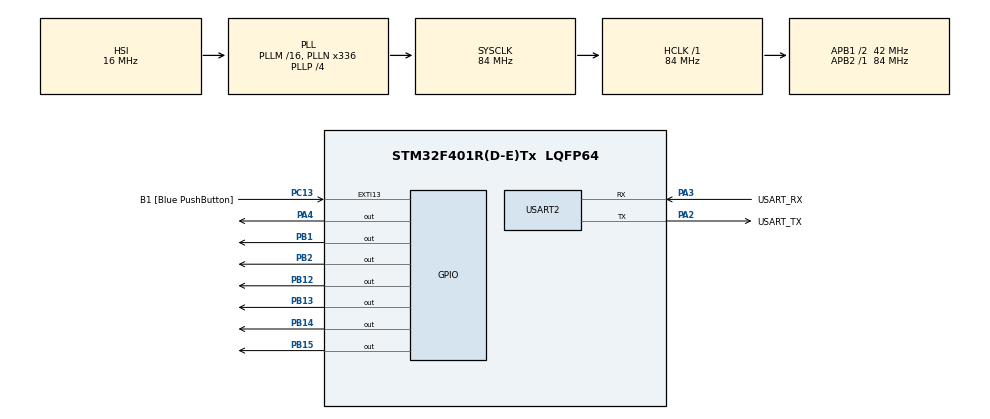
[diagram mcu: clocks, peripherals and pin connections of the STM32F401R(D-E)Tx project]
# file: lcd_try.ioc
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Mcu.Family=STM32F4
Mcu.Name=STM32F401R(D-E)Tx
Mcu.Package=LQFP64
NVIC.PriorityGroup=NVIC_PRIORITYGROUP_4
NVIC.TIM2_IRQn=true\:0\:0\:false\:false\:true\:true\:true\:true
PA13.GPIO_Label=TMS
PA13.Mode=Trace_Asynchronous_SW
PA13.Signal=SYS_JTMS-SWDIO
PA14.GPIO_Label=TCK
PA14.Mode=Trace_Asynchronous_SW
PA14.Signal=SYS_JTCK-SWCLK
PA2.GPIO_Label=USART_TX
PA2.GPIO_Mode=GPIO_MODE_AF_PP
PA2.GPIO_PuPd=GPIO_NOPULL
PA2.GPIO_Speed=GPIO_SPEED_FREQ_LOW
PA2.Mode=Asynchronous
PA2.Signal=USART2_TX
PA3.GPIO_Label=USART_RX
PA3.GPIO_Mode=GPIO_MODE_AF_PP
PA3.GPIO_PuPd=GPIO_NOPULL
PA3.GPIO_Speed=GPIO_SPEED_FREQ_LOW
PA3.Mode=Asynchronous
PA3.Signal=USART2_RX
PA4.Signal=GPIO_Output
PA5.Signal=S_TIM2_CH1_ETR
PB1.Signal=GPIO_Output
PB12.Signal=GPIO_Output
PB13.Signal=GPIO_Output
PB14.Signal=GPIO_Output
PB15.Signal=GPIO_Output
PB2.Signal=GPIO_Output
PB3.GPIO_Label=SWO
PB3.Mode=Trace_Asynchronous_SW
PB3.Signal=SYS_JTDO-SWO
PC13-ANTI_TAMP.GPIO_Label=B1 [Blue PushButton]
PC13-ANTI_TAMP.GPIO_ModeDefaultEXTI=GPIO_MODE_IT_FALLING
PC13-ANTI_TAMP.GPIO_PuPd=GPIO_NOPULL
PC13-ANTI_TAMP.Signal=GPXTI13
PC14-OSC32_IN.Mode=LSE-External-Oscillator
PC14-OSC32_IN.Signal=RCC_OSC32_IN
PC15-OSC32_OUT.Mode=LSE-External-Oscillator
PC15-OSC32_OUT.Signal=RCC_OSC32_OUT
PH0\ -\ OSC_IN.Mode=HSE-External-Clock-Source
PH0\ -\ OSC_IN.Signal=RCC_OSC_IN
PH1\ -\ OSC_OUT.Mode=HSE-External-Clock-Source
PH1\ -\ OSC_OUT.Signal=RCC_OSC_OUT
ProjectManager.HeapSize=0x200
ProjectManager.StackSize=0x400
ProjectManager.TargetToolchain=STM32CubeIDE
RCC.48MHZClocksFreq_Value=48000000
RCC.AHBFreq_Value=84000000
RCC.APB1CLKDivider=RCC_HCLK_DIV2
RCC.APB1Freq_Value=42000000
RCC.APB1TimFreq_Value=84000000
RCC.APB2Freq_Value=84000000
RCC.APB2TimFreq_Value=84000000
RCC.CortexFreq_Value=84000000
RCC.HCLKFreq_Value=84000000
RCC.HSE_VALUE=8000000
RCC.HSI_VALUE=16000000
RCC.PLLN=336
RCC.PLLP=RCC_PLLP_DIV4
RCC.PLLQ=7
RCC.SYSCLKFreq_VALUE=84000000
RCC.SYSCLKSource=RCC_SYSCLKSOURCE_PLLCLK
RCC.VCOOutputFreq_Value=336000000
SH.S_TIM2_CH1_ETR.0=TIM2_CH1
TIM2.Period=10000 -1
TIM2.Prescaler=8400 -1
USART2.VirtualMode=VM_ASYNC
VP_TIM2_VS_ClockSourceINT.Mode=Internal
board=NUCLEO-F401RE

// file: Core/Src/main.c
/* USER CODE BEGIN Header */
/**
  ******************************************************************************
  * @file           : main.c
  * @brief          : Main program body
  ******************************************************************************
  * @attention
  *
  * Copyright (c) 2025 STMicroelectronics.
  * All rights reserved.
  *
  * This software is licensed under terms that can be found in the LICENSE file
  * in the root directory of this software component.
  * If no LICENSE file comes with this software, it is provided AS-IS.
  *
  ******************************************************************************
  */
/* USER CODE END Header */
#include "main.h"

/* USER CODE BEGIN Includes */
#include <PMDB16_LCD.h>
#include <string.h>
#include <stdio.h>
/* USER CODE END Includes */

TIM_HandleTypeDef htim2;

UART_HandleTypeDef huart2;

/* USER CODE BEGIN PV */
char *nomi[] = {
    "Angelo",
    "Antonio",
    "Boris",
    "Marta",
    "Giorgia"
};
int index1 = 0;
volatile int print_on = 1;
/* USER CODE END PV */

void SystemClock_Config(void);
static void MX_GPIO_Init(void);
static void MX_USART2_UART_Init(void);
static void MX_TIM2_Init(void);
/* USER CODE BEGIN PFP */
void printLCD(){
	lcd_println(nomi[index1], 0);
	if(index1 < 4){
		lcd_println(nomi[index1+1], 1);
	}else{
		lcd_println(nomi[0], 1);
	}
	if(index1 == 4){
		index1 = 0;
	}else{
		index1++;
	}
}

void HAL_TIM_PeriodElapsedCallback(TIM_HandleTypeDef *htim){
	if (htim->Instance == TIM2){
		print_on=1;
		HAL_TIM_Base_Stop_IT(&htim2);
	}
}
/* USER CODE END PFP */

int main(void)
{

  /* MCU Configuration--------------------------------------------------------*/

  /* Reset of all peripherals, Initializes the Flash interface and the Systick. */
  HAL_Init();

  /* Configure the system clock */
  SystemClock_Config();

  /* Initialize all configured peripherals */
  MX_GPIO_Init();
  MX_USART2_UART_Init();
  MX_TIM2_Init();
  /* USER CODE BEGIN 2 */
  lcd_initialize();
  lcd_backlight_ON();
  /* USER CODE END 2 */

  /* Infinite loop */
  while (1)
  {

    /* USER CODE BEGIN 3 */
	  if(print_on == 1){
		  printLCD();
		  HAL_TIM_Base_Start_IT(&htim2);
		  print_on=0;
	  }
  }
  /* USER CODE END 3 */
}

void SystemClock_Config(void)
{
  RCC_OscInitTypeDef RCC_OscInitStruct = {0};
  RCC_ClkInitTypeDef RCC_ClkInitStruct = {0};

  /** Configure the main internal regulator output voltage
  */
  __HAL_RCC_PWR_CLK_ENABLE();
  __HAL_PWR_VOLTAGESCALING_CONFIG(PWR_REGULATOR_VOLTAGE_SCALE2);

  /** Initializes the RCC Oscillators according to the specified parameters
  * in the RCC_OscInitTypeDef structure.
  */
  RCC_OscInitStruct.OscillatorType = RCC_OSCILLATORTYPE_HSI;
  RCC_OscInitStruct.HSIState = RCC_HSI_ON;
  RCC_OscInitStruct.HSICalibrationValue = RCC_HSICALIBRATION_DEFAULT;
  RCC_OscInitStruct.PLL.PLLState = RCC_PLL_ON;
  RCC_OscInitStruct.PLL.PLLSource = RCC_PLLSOURCE_HSI;
  RCC_OscInitStruct.PLL.PLLM = 16;
  RCC_OscInitStruct.PLL.PLLN = 336;
  RCC_OscInitStruct.PLL.PLLP = RCC_PLLP_DIV4;
  RCC_OscInitStruct.PLL.PLLQ = 7;
  if (HAL_RCC_OscConfig(&RCC_OscInitStruct) != HAL_OK)
  {
    Error_Handler();
  }

  /** Initializes the CPU, AHB and APB buses clocks
  */
  RCC_ClkInitStruct.ClockType = RCC_CLOCKTYPE_HCLK|RCC_CLOCKTYPE_SYSCLK
                              |RCC_CLOCKTYPE_PCLK1|RCC_CLOCKTYPE_PCLK2;
  RCC_ClkInitStruct.SYSCLKSource = RCC_SYSCLKSOURCE_PLLCLK;
  RCC_ClkInitStruct.AHBCLKDivider = RCC_SYSCLK_DIV1;
  RCC_ClkInitStruct.APB1CLKDivider = RCC_HCLK_DIV2;
  RCC_ClkInitStruct.APB2CLKDivider = RCC_HCLK_DIV1;

  if (HAL_RCC_ClockConfig(&RCC_ClkInitStruct, FLASH_LATENCY_2) != HAL_OK)
  {
    Error_Handler();
  }
}

static void MX_TIM2_Init(void)
{

  TIM_ClockConfigTypeDef sClockSourceConfig = {0};
  TIM_MasterConfigTypeDef sMasterConfig = {0};

  htim2.Instance = TIM2;
  htim2.Init.Prescaler = 8400 -1;
  htim2.Init.CounterMode = TIM_COUNTERMODE_UP;
  htim2.Init.Period = 10000 -1;
  htim2.Init.ClockDivision = TIM_CLOCKDIVISION_DIV1;
  htim2.Init.AutoReloadPreload = TIM_AUTORELOAD_PRELOAD_DISABLE;
  if (HAL_TIM_Base_Init(&htim2) != HAL_OK)
  {
    Error_Handler();
  }
  sClockSourceConfig.ClockSource = TIM_CLOCKSOURCE_INTERNAL;
  if (HAL_TIM_ConfigClockSource(&htim2, &sClockSourceConfig) != HAL_OK)
  {
    Error_Handler();
  }
  sMasterConfig.MasterOutputTrigger = TIM_TRGO_RESET;
  sMasterConfig.MasterSlaveMode = TIM_MASTERSLAVEMODE_DISABLE;
  if (HAL_TIMEx_MasterConfigSynchronization(&htim2, &sMasterConfig) != HAL_OK)
  {
    Error_Handler();
  }

}

static void MX_USART2_UART_Init(void)
{

  huart2.Instance = USART2;
  huart2.Init.BaudRate = 115200;
  huart2.Init.WordLength = UART_WORDLENGTH_8B;
  huart2.Init.StopBits = UART_STOPBITS_1;
  huart2.Init.Parity = UART_PARITY_NONE;
  huart2.Init.Mode = UART_MODE_TX_RX;
  huart2.Init.HwFlowCtl = UART_HWCONTROL_NONE;
  huart2.Init.OverSampling = UART_OVERSAMPLING_16;
  if (HAL_UART_Init(&huart2) != HAL_OK)
  {
    Error_Handler();
  }

}

static void MX_GPIO_Init(void)
{
  GPIO_InitTypeDef GPIO_InitStruct = {0};

  /* GPIO Ports Clock Enable */
  __HAL_RCC_GPIOC_CLK_ENABLE();
  __HAL_RCC_GPIOH_CLK_ENABLE();
  __HAL_RCC_GPIOA_CLK_ENABLE();
  __HAL_RCC_GPIOB_CLK_ENABLE();

  /*Configure GPIO pin Output Level */
  HAL_GPIO_WritePin(GPIOA, GPIO_PIN_4, GPIO_PIN_RESET);

  /*Configure GPIO pin Output Level */
  HAL_GPIO_WritePin(GPIOB, GPIO_PIN_1|GPIO_PIN_2|GPIO_PIN_12|GPIO_PIN_13
                          |GPIO_PIN_14|GPIO_PIN_15, GPIO_PIN_RESET);

  /*Configure GPIO pin : B1_Pin */
  GPIO_InitStruct.Pin = B1_Pin;
  GPIO_InitStruct.Mode = GPIO_MODE_IT_FALLING;
  GPIO_InitStruct.Pull = GPIO_NOPULL;
  HAL_GPIO_Init(B1_GPIO_Port, &GPIO_InitStruct);

  /*Configure GPIO pin : PA4 */
  GPIO_InitStruct.Pin = GPIO_PIN_4;
  GPIO_InitStruct.Mode = GPIO_MODE_OUTPUT_PP;
  GPIO_InitStruct.Pull = GPIO_NOPULL;
  GPIO_InitStruct.Speed = GPIO_SPEED_FREQ_LOW;
  HAL_GPIO_Init(GPIOA, &GPIO_InitStruct);

  /*Configure GPIO pins : PB1 PB2 PB12 PB13
                           PB14 PB15 */
  GPIO_InitStruct.Pin = GPIO_PIN_1|GPIO_PIN_2|GPIO_PIN_12|GPIO_PIN_13
                          |GPIO_PIN_14|GPIO_PIN_15;
  GPIO_InitStruct.Mode = GPIO_MODE_OUTPUT_PP;
  GPIO_InitStruct.Pull = GPIO_NOPULL;
  GPIO_InitStruct.Speed = GPIO_SPEED_FREQ_LOW;
  HAL_GPIO_Init(GPIOB, &GPIO_InitStruct);

}

void Error_Handler(void)
{
  __disable_irq();
  while (1)
  {
  }
}
